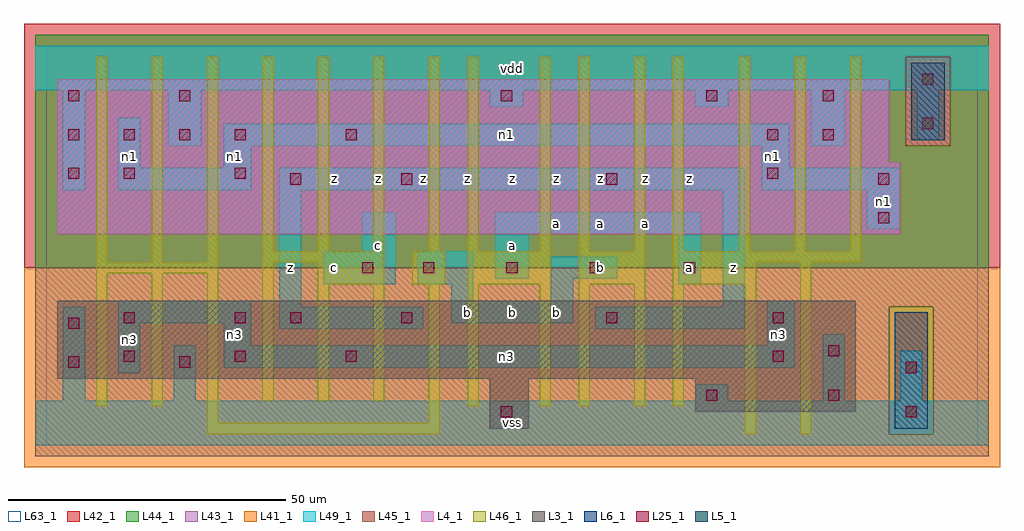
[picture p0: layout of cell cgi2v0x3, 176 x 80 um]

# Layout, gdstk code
import gdstk
lib = gdstk.Library(unit=1e-6, precision=1e-09)
def R(c, l, rs):  # rectangles x0, y0, x1, y1
    for r in rs: c.add(gdstk.rectangle(r[:2], r[2:], *l))
def A(c, l, x, y, w, h, nx, ny, dx, dy):  # array of equal rectangles
    R(c, l, [(x+i*dx, y+j*dy, x+i*dx+w, y+j*dy+h) for i in range(nx) for j in range(ny)])
L3_1 = (3, 1)
L4_1 = (4, 1)
L5_1 = (5, 1)
L6_1 = (6, 1)
L25_1 = (25, 1)
L41_1 = (41, 1)
L42_1 = (42, 1)
L43_1 = (43, 1)
L44_1 = (44, 1)
L45_1 = (45, 1)
L46_1 = (46, 1)
L49_1 = (49, 1)
L63_1 = (63, 1)

cgi2v0x3 = lib.new_cell('cgi2v0x3')
R(cgi2v0x3, L3_1, [(80,3,87,12), (117,6,146,12), (2,12,146,26)])
R(cgi2v0x3, L4_1, [(2,38,154,51), (2,51,152,66)])
R(cgi2v0x3, L5_1, [(156,55,162,69)])
R(cgi2v0x3, L6_1, [(153,3,159,24), (153,3,159,24)])
A(cgi2v0x3, L25_1, 14, 15, 2, 2, 3, 1, 20, 0)
A(cgi2v0x3, L25_1, 68, 31, 2, 2, 3, 1, 15, 0)
A(cgi2v0x3, L25_1, 4, 55, 2, 2, 4, 1, 10, 0)
R(cgi2v0x3, L25_1, [(82,5,84,7), (155,5,157,7), (119,8,121,10), (141,8,143,10), (155,13,157,15), (4,14,6,16), (24,14,26,16), (131,15,133,17), (141,16,143,18), (4,21,6,23), (14,22,16,24), (34,22,36,24), (44,22,46,24), (64,22,66,24), (101,22,103,24), (131,22,133,24), (57,31,59,33), (115,31,117,33), (150,40,152,42), (44,47,46,49), (64,47,66,49), (101,47,103,49), (150,47,152,49), (4,48,6,50), (14,48,16,50), (34,48,36,50), (130,48,132,50), (54,55,56,57), (130,55,132,57), (140,55,142,57), (158,57,160,59), (4,62,6,64), (24,62,26,64), (82,62,84,64), (119,62,121,64), (140,62,142,64), (158,65,160,67)])
R(cgi2v0x3, L41_1, [(-4,-4,172,32)])
R(cgi2v0x3, L42_1, [(-4,32,172,76)])
R(cgi2v0x3, L43_1, [(80,3,87,12), (153,3,159,24), (117,6,146,12), (2,12,146,26), (2,38,154,51), (2,51,152,66), (156,55,162,69)])
R(cgi2v0x3, L44_1, [(152,2,160,25), (-2,32,170,54), (-2,54,155,70), (163,54,170,70), (-2,70,170,74)])
R(cgi2v0x3, L45_1, [(-2,-2,170,2), (-2,2,152,25), (160,2,170,25), (-2,25,170,32), (155,54,163,70)])
A(cgi2v0x3, L46_1, 9, 33, 2, 37, 3, 1, 10, 0)
A(cgi2v0x3, L46_1, 39, 35, 2, 35, 4, 1, 10, 0)
A(cgi2v0x3, L46_1, 125, 35, 2, 35, 3, 1, 10, 0)
R(cgi2v0x3, L46_1, [(29,2,71,4), (126,2,128,29), (136,2,138,33), (29,4,31,31), (69,4,71,29), (9,7,11,31), (19,7,21,31), (76,7,78,29), (89,7,91,29), (96,7,98,29), (106,7,108,29), (113,7,115,29), (39,8,41,33), (49,8,51,29), (59,8,61,29), (49,29,61,33), (66,29,72,35), (76,29,91,35), (96,29,108,35), (113,29,128,33), (9,31,31,33), (39,33,61,35), (113,33,147,35), (76,35,78,70), (89,35,91,70), (96,35,98,70), (106,35,108,70), (113,35,115,70)])
R(cgi2v0x3, L49_1, [(-2,0,170,8), (3,8,7,25), (23,8,27,18), (117,8,123,11), (140,8,144,20), (154,8,158,17), (13,13,17,22), (32,14,135,18), (32,18,37,22), (130,18,135,26), (42,21,68,25), (99,21,126,25), (13,22,37,26), (73,22,95,26), (42,25,46,46), (122,25,126,46), (73,26,77,29), (91,26,95,30), (50,29,63,35), (67,29,77,35), (114,29,118,38), (81,30,87,38), (91,30,103,34), (57,35,63,42), (81,38,118,42), (148,39,154,46), (3,46,7,64), (13,46,37,50), (42,46,126,50), (129,46,154,50), (13,50,17,59), (32,50,37,54), (129,50,134,54), (22,54,28,64), (32,54,134,58), (138,54,144,64), (157,55,161,64), (80,61,86,64), (117,61,123,64), (-2,64,170,72)])
R(cgi2v0x3, L63_1, [(0,0,168,72)])
cgi2v0x3.add(gdstk.Label('n3', (15,19), layer=49, texttype=1))
cgi2v0x3.add(gdstk.Label('n1', (15,52), layer=49, texttype=1))
cgi2v0x3.add(gdstk.Label('n3', (34,20), layer=49, texttype=1))
cgi2v0x3.add(gdstk.Label('z', (44,32), layer=49, texttype=1))
cgi2v0x3.add(gdstk.Label('c', (52,32), layer=49, texttype=1))
cgi2v0x3.add(gdstk.Label('c', (60,36), layer=49, texttype=1))
cgi2v0x3.add(gdstk.Label('z', (52,48), layer=49, texttype=1))
cgi2v0x3.add(gdstk.Label('z', (60,48), layer=49, texttype=1))
cgi2v0x3.add(gdstk.Label('n1', (34,52), layer=49, texttype=1))
cgi2v0x3.add(gdstk.Label('vss', (84,4), layer=49, texttype=1))
cgi2v0x3.add(gdstk.Label('b', (76,24), layer=49, texttype=1))
cgi2v0x3.add(gdstk.Label('b', (84,24), layer=49, texttype=1))
cgi2v0x3.add(gdstk.Label('b', (92,24), layer=49, texttype=1))
cgi2v0x3.add(gdstk.Label('a', (92,40), layer=49, texttype=1))
cgi2v0x3.add(gdstk.Label('a', (84,36), layer=49, texttype=1))
cgi2v0x3.add(gdstk.Label('z', (68,48), layer=49, texttype=1))
cgi2v0x3.add(gdstk.Label('z', (76,48), layer=49, texttype=1))
cgi2v0x3.add(gdstk.Label('z', (84,48), layer=49, texttype=1))
cgi2v0x3.add(gdstk.Label('z', (92,48), layer=49, texttype=1))
cgi2v0x3.add(gdstk.Label('vdd', (84,68), layer=49, texttype=1))
cgi2v0x3.add(gdstk.Label('a', (116,32), layer=49, texttype=1))
cgi2v0x3.add(gdstk.Label('z', (124,32), layer=49, texttype=1))
cgi2v0x3.add(gdstk.Label('b', (100,32), layer=49, texttype=1))
cgi2v0x3.add(gdstk.Label('a', (100,40), layer=49, texttype=1))
cgi2v0x3.add(gdstk.Label('a', (108,40), layer=49, texttype=1))
cgi2v0x3.add(gdstk.Label('z', (100,48), layer=49, texttype=1))
cgi2v0x3.add(gdstk.Label('z', (108,48), layer=49, texttype=1))
cgi2v0x3.add(gdstk.Label('z', (116,48), layer=49, texttype=1))
cgi2v0x3.add(gdstk.Label('n1', (131,52), layer=49, texttype=1))
cgi2v0x3.add(gdstk.Label('n1', (83,56), layer=49, texttype=1))
cgi2v0x3.add(gdstk.Label('n3', (132,20), layer=49, texttype=1))
cgi2v0x3.add(gdstk.Label('n3', (83,16), layer=49, texttype=1))
cgi2v0x3.add(gdstk.Label('n1', (151,44), layer=49, texttype=1))

lib.write_gds('cgi2v0x3.gds')
